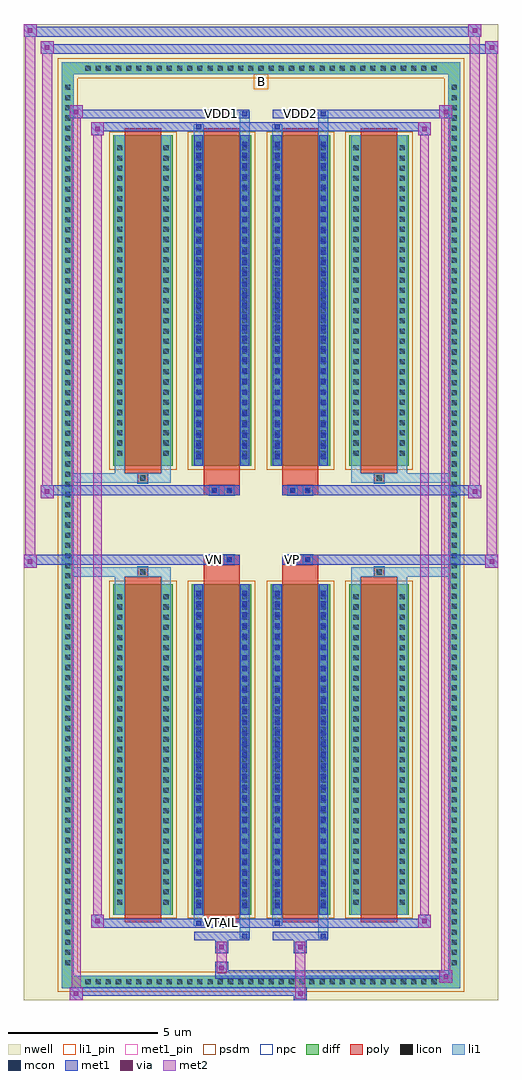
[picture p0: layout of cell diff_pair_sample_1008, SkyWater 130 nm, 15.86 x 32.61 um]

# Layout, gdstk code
import gdstk
lib = gdstk.Library(unit=1e-6, precision=5e-09)
def R(c, l, rs):  # rectangles x0, y0, x1, y1
    for r in rs: c.add(gdstk.rectangle(r[:2], r[2:], *l))
def A(c, l, x, y, w, h, nx, ny, dx, dy):  # array of equal rectangles
    R(c, l, [(x+i*dx, y+j*dy, x+i*dx+w, y+j*dy+h) for i in range(nx) for j in range(ny)])
def P(c, l, *ps):  # polygons
    for p in ps: c.add(gdstk.Polygon(p, *l))
nwell = (64, 20)
diff = (65, 20)
poly = (66, 20)
licon = (66, 44)
li1_pin = (67, 16)
li1 = (67, 20)
mcon = (67, 44)
met1_pin = (68, 16)
met1 = (68, 20)
via = (68, 44)
met2 = (69, 20)
psdm = (94, 20)
npc = (95, 20)

diff_pair_sample_1008 = lib.new_cell('diff_pair_sample_1008')
R(diff_pair_sample_1008, nwell, [(-7.93,-15.87,7.93,16.74), (-5.25,-14.06,-0.01,-0.8), (0.01,-14.06,5.25,-0.8), (-5.25,0.8,-0.01,14.06), (0.01,0.8,5.25,14.06)])
A(diff_pair_sample_1008, diff, -5.985, -15.47, 0.41, 0.41, 35, 2, 0.34, 30.53)
A(diff_pair_sample_1008, diff, -6.66, -14.825, 0.41, 0.41, 1, 87, 0, 0.34)
A(diff_pair_sample_1008, diff, 6.25, -14.825, 0.41, 0.41, 1, 87, 0, 0.34)
A(diff_pair_sample_1008, diff, -4.94, -13.015, 1.99, 11.03, 4, 2, 2.63, 15)
R(diff_pair_sample_1008, diff, [(-5.985,-15.47,5.985,-15.06), (-6.66,-14.825,-6.25,14.825), (6.25,-14.825,6.66,14.825), (-5.985,15.06,5.985,15.47)])
P(diff_pair_sample_1008, diff, [(6.66,15.47),(-6.66,15.47),(-6.66,-15.06),(-6.25,-15.06),(-6.25,15.06),(6.25,15.06),(6.25,-15.06),(-6.25,-15.06),(-6.66,-15.06),(-6.66,-15.47),(6.66,-15.47)])
A(diff_pair_sample_1008, poly, -4.55, -13.265, 1.21, 11.53, 4, 2, 2.63, 15)
R(diff_pair_sample_1008, poly, [(-4.11,-1.735,-3.78,-1.405), (-4.11,-1.735,-3.78,-1.405), (-1.92,-1.735,-0.71,-1.33), (0.71,-1.735,1.92,-1.33), (3.78,-1.735,4.11,-1.405), (3.78,-1.735,4.11,-1.405), (-1.92,-1.33,-0.71,-1), (-1.73,-1.33,-1.4,-1), (-1.23,-1.33,-0.9,-1), (0.71,-1.33,1.92,-1), (0.9,-1.33,1.23,-1), (1.4,-1.33,1.73,-1), (-1.92,1,-0.71,1.33), (-1.73,1,-1.4,1.33), (-1.23,1,-0.9,1.33), (0.71,1,1.92,1.33), (0.9,1,1.23,1.33), (1.4,1,1.73,1.33), (-1.92,1.33,-0.71,1.735), (0.71,1.33,1.92,1.735), (-4.11,1.405,-3.78,1.735), (-4.11,1.405,-3.78,1.735), (3.78,1.405,4.11,1.735), (3.78,1.405,4.11,1.735)])
A(diff_pair_sample_1008, licon, -5.865, -15.35, 0.17, 0.17, 35, 2, 0.34, 30.53)
A(diff_pair_sample_1008, licon, -6.54, -14.705, 0.17, 0.17, 1, 87, 0, 0.34)
A(diff_pair_sample_1008, licon, 6.37, -14.705, 0.17, 0.17, 1, 87, 0, 0.34)
A(diff_pair_sample_1008, licon, -4.8, -12.685, 0.17, 0.17, 1, 31, 0, 0.34)
A(diff_pair_sample_1008, licon, -3.26, -12.685, 0.17, 0.17, 1, 31, 0, 0.34)
A(diff_pair_sample_1008, licon, -2.17, -12.685, 0.17, 0.17, 1, 31, 0, 0.34)
A(diff_pair_sample_1008, licon, -0.63, -12.685, 0.17, 0.17, 1, 31, 0, 0.34)
A(diff_pair_sample_1008, licon, 0.46, -12.685, 0.17, 0.17, 1, 31, 0, 0.34)
A(diff_pair_sample_1008, licon, 2, -12.685, 0.17, 0.17, 1, 31, 0, 0.34)
A(diff_pair_sample_1008, licon, 3.09, -12.685, 0.17, 0.17, 1, 31, 0, 0.34)
A(diff_pair_sample_1008, licon, 4.63, -12.685, 0.17, 0.17, 1, 31, 0, 0.34)
A(diff_pair_sample_1008, licon, -4.8, 2.315, 0.17, 0.17, 1, 31, 0, 0.34)
A(diff_pair_sample_1008, licon, -3.26, 2.315, 0.17, 0.17, 1, 31, 0, 0.34)
A(diff_pair_sample_1008, licon, -2.17, 2.315, 0.17, 0.17, 1, 31, 0, 0.34)
A(diff_pair_sample_1008, licon, -0.63, 2.315, 0.17, 0.17, 1, 31, 0, 0.34)
A(diff_pair_sample_1008, licon, 0.46, 2.315, 0.17, 0.17, 1, 31, 0, 0.34)
A(diff_pair_sample_1008, licon, 2, 2.315, 0.17, 0.17, 1, 31, 0, 0.34)
A(diff_pair_sample_1008, licon, 3.09, 2.315, 0.17, 0.17, 1, 31, 0, 0.34)
A(diff_pair_sample_1008, licon, 4.63, 2.315, 0.17, 0.17, 1, 31, 0, 0.34)
R(diff_pair_sample_1008, licon, [(-4.03,-1.655,-3.86,-1.485), (3.86,-1.655,4.03,-1.485), (-1.65,-1.25,-1.48,-1.08), (-1.15,-1.25,-0.98,-1.08), (0.98,-1.25,1.15,-1.08), (1.48,-1.25,1.65,-1.08), (-1.65,1.08,-1.48,1.25), (-1.15,1.08,-0.98,1.25), (0.98,1.08,1.15,1.25), (1.48,1.08,1.65,1.25), (-4.03,1.485,-3.86,1.655), (3.86,1.485,4.03,1.655)])
R(diff_pair_sample_1008, li1_pin, [(-0.25,14.56,0.25,15.06)])
A(diff_pair_sample_1008, li1, -5.945, -15.43, 0.33, 0.33, 35, 2, 0.34, 30.53)
A(diff_pair_sample_1008, li1, -6.62, -14.785, 0.33, 0.33, 1, 87, 0, 0.34)
A(diff_pair_sample_1008, li1, 6.29, -14.785, 0.33, 0.33, 1, 87, 0, 0.34)
A(diff_pair_sample_1008, li1, -2.17, -12.805, 0.17, 0.17, 1, 30, 0, 0.36)
A(diff_pair_sample_1008, li1, -0.63, -12.805, 0.17, 0.17, 1, 30, 0, 0.36)
A(diff_pair_sample_1008, li1, 0.46, -12.805, 0.17, 0.17, 1, 30, 0, 0.36)
A(diff_pair_sample_1008, li1, 2, -12.805, 0.17, 0.17, 1, 30, 0, 0.36)
A(diff_pair_sample_1008, li1, -4.88, -12.765, 0.33, 0.33, 1, 31, 0, 0.34)
A(diff_pair_sample_1008, li1, -3.34, -12.765, 0.33, 0.33, 1, 31, 0, 0.34)
A(diff_pair_sample_1008, li1, -2.25, -12.765, 0.33, 0.33, 1, 31, 0, 0.34)
A(diff_pair_sample_1008, li1, -0.71, -12.765, 0.33, 0.33, 1, 31, 0, 0.34)
A(diff_pair_sample_1008, li1, 0.38, -12.765, 0.33, 0.33, 1, 31, 0, 0.34)
A(diff_pair_sample_1008, li1, 1.92, -12.765, 0.33, 0.33, 1, 31, 0, 0.34)
A(diff_pair_sample_1008, li1, 3.01, -12.765, 0.33, 0.33, 1, 31, 0, 0.34)
A(diff_pair_sample_1008, li1, 4.55, -12.765, 0.33, 0.33, 1, 31, 0, 0.34)
A(diff_pair_sample_1008, li1, -2.17, 2.195, 0.17, 0.17, 1, 30, 0, 0.36)
A(diff_pair_sample_1008, li1, -0.63, 2.195, 0.17, 0.17, 1, 30, 0, 0.36)
A(diff_pair_sample_1008, li1, 0.46, 2.195, 0.17, 0.17, 1, 30, 0, 0.36)
A(diff_pair_sample_1008, li1, 2, 2.195, 0.17, 0.17, 1, 30, 0, 0.36)
A(diff_pair_sample_1008, li1, -4.88, 2.235, 0.33, 0.33, 1, 31, 0, 0.34)
A(diff_pair_sample_1008, li1, -3.34, 2.235, 0.33, 0.33, 1, 31, 0, 0.34)
A(diff_pair_sample_1008, li1, -2.25, 2.235, 0.33, 0.33, 1, 31, 0, 0.34)
A(diff_pair_sample_1008, li1, -0.71, 2.235, 0.33, 0.33, 1, 31, 0, 0.34)
A(diff_pair_sample_1008, li1, 0.38, 2.235, 0.33, 0.33, 1, 31, 0, 0.34)
A(diff_pair_sample_1008, li1, 1.92, 2.235, 0.33, 0.33, 1, 31, 0, 0.34)
A(diff_pair_sample_1008, li1, 3.01, 2.235, 0.33, 0.33, 1, 31, 0, 0.34)
A(diff_pair_sample_1008, li1, 4.55, 2.235, 0.33, 0.33, 1, 31, 0, 0.34)
R(diff_pair_sample_1008, li1, [(-6.66,-15.47,-6.25,-15.06), (-6.66,-15.47,-6.25,-15.06), (-6.25,-15.47,6.25,-15.06), (6.25,-15.47,6.66,-15.06), (6.25,-15.47,6.66,-15.06), (-6.66,-15.06,-6.25,15.06), (6.25,-15.06,6.66,15.06), (-0.71,-13.82,-0.38,-13.015), (-0.63,-13.82,-0.46,-13.65), (1.92,-13.82,2.25,-13.015), (2,-13.82,2.17,-13.65), (-2.25,-13.39,-1.92,-13.015), (-2.17,-13.39,-2,-13.22), (0.38,-13.39,0.71,-13.015), (0.46,-13.39,0.63,-13.22), (-4.88,-13.015,-4.55,-1.985), (-3.34,-13.015,-3.01,-1.985), (-2.25,-13.015,-1.92,-1.985), (-0.71,-13.015,-0.38,-1.985), (0.38,-13.015,0.71,-1.985), (1.92,-13.015,2.25,-1.985), (3.01,-13.015,3.34,-1.985), (4.55,-13.015,4.88,-1.985), (-2.17,-12.805,-2,-2.195), (-0.63,-12.805,-0.46,-2.195), (0.46,-12.805,0.63,-2.195), (2,-12.805,2.17,-2.195), (-4.88,-1.985,-4.55,-1.405), (-3.34,-1.985,-3.01,-1.405), (3.01,-1.985,3.34,-1.405), (4.55,-1.985,4.88,-1.405), (-6.66,-1.735,-4.11,-1.405), (-4.88,-1.735,-4.11,-1.405), (-4.11,-1.735,-3.78,-1.405), (-3.78,-1.735,-3.01,-1.405), (3.01,-1.735,3.78,-1.405), (3.78,-1.735,4.11,-1.405), (3.78,-1.735,6.66,-1.405), (4.11,-1.735,4.88,-1.405), (-1.73,-1.33,-1.4,-1), (-1.23,-1.33,-0.9,-1), (0.9,-1.33,1.23,-1), (1.4,-1.33,1.73,-1), (-1.73,1,-1.4,1.33), (-1.23,1,-0.9,1.33), (0.9,1,1.23,1.33), (1.4,1,1.73,1.33), (-6.66,1.405,-4.11,1.735), (-4.88,1.405,-4.11,1.735), (-4.88,1.405,-4.55,1.985), (-4.11,1.405,-3.78,1.735), (-3.78,1.405,-3.01,1.735), (-3.34,1.405,-3.01,1.985), (3.01,1.405,3.78,1.735), (3.01,1.405,3.34,1.985), (3.78,1.405,4.11,1.735), (3.78,1.405,6.66,1.735), (4.11,1.405,4.88,1.735), (4.55,1.405,4.88,1.985), (-4.88,1.985,-4.55,13.015), (-3.34,1.985,-3.01,13.015), (-2.25,1.985,-1.92,13.015), (-0.71,1.985,-0.38,13.015), (0.38,1.985,0.71,13.015), (1.92,1.985,2.25,13.015), (3.01,1.985,3.34,13.015), (4.55,1.985,4.88,13.015), (-2.17,2.195,-2,12.805), (-0.63,2.195,-0.46,12.805), (0.46,2.195,0.63,12.805), (2,2.195,2.17,12.805), (-2.25,13.015,-1.92,13.39), (-0.71,13.015,-0.38,13.82), (0.38,13.015,0.71,13.39), (1.92,13.015,2.25,13.82), (-2.17,13.22,-2,13.39), (0.46,13.22,0.63,13.39), (-0.63,13.65,-0.46,13.82), (2,13.65,2.17,13.82), (-6.66,15.06,-6.25,15.47), (-6.66,15.06,-6.25,15.47), (-6.25,15.06,6.25,15.47), (6.25,15.06,6.66,15.47), (6.25,15.06,6.66,15.47)])
A(diff_pair_sample_1008, mcon, -2.17, -12.805, 0.17, 0.17, 1, 30, 0, 0.36)
A(diff_pair_sample_1008, mcon, -0.63, -12.805, 0.17, 0.17, 1, 30, 0, 0.36)
A(diff_pair_sample_1008, mcon, 0.46, -12.805, 0.17, 0.17, 1, 30, 0, 0.36)
A(diff_pair_sample_1008, mcon, 2, -12.805, 0.17, 0.17, 1, 30, 0, 0.36)
A(diff_pair_sample_1008, mcon, -2.17, 2.195, 0.17, 0.17, 1, 30, 0, 0.36)
A(diff_pair_sample_1008, mcon, -0.63, 2.195, 0.17, 0.17, 1, 30, 0, 0.36)
A(diff_pair_sample_1008, mcon, 0.46, 2.195, 0.17, 0.17, 1, 30, 0, 0.36)
A(diff_pair_sample_1008, mcon, 2, 2.195, 0.17, 0.17, 1, 30, 0, 0.36)
R(diff_pair_sample_1008, mcon, [(-0.63,-13.82,-0.46,-13.65), (2,-13.82,2.17,-13.65), (-2.17,-13.39,-2,-13.22), (0.46,-13.39,0.63,-13.22), (-1.65,-1.25,-1.48,-1.08), (-1.15,-1.25,-0.98,-1.08), (0.98,-1.25,1.15,-1.08), (1.48,-1.25,1.65,-1.08), (-1.65,1.08,-1.48,1.25), (-1.15,1.08,-0.98,1.25), (0.98,1.08,1.15,1.25), (1.48,1.08,1.65,1.25), (-2.17,13.22,-2,13.39), (0.46,13.22,0.63,13.39), (-0.63,13.65,-0.46,13.82), (2,13.65,2.17,13.82)])
R(diff_pair_sample_1008, met1_pin, [(-1.45,-13.43,-1.18,-13.16), (-1.7,-1.29,-1.43,-1.02), (0.93,-1.29,1.2,-1.02), (-1.45,13.61,-1.18,13.88), (1.18,13.61,1.45,13.88)])
A(diff_pair_sample_1008, met1, -2.23, -12.865, 0.29, 0.29, 1, 30, 0, 0.36)
A(diff_pair_sample_1008, met1, -0.69, -12.865, 0.29, 0.29, 1, 30, 0, 0.36)
A(diff_pair_sample_1008, met1, 0.4, -12.865, 0.29, 0.29, 1, 30, 0, 0.36)
A(diff_pair_sample_1008, met1, 1.94, -12.865, 0.29, 0.29, 1, 30, 0, 0.36)
A(diff_pair_sample_1008, met1, -2.23, 2.135, 0.29, 0.29, 1, 30, 0, 0.36)
A(diff_pair_sample_1008, met1, -0.69, 2.135, 0.29, 0.29, 1, 30, 0, 0.36)
A(diff_pair_sample_1008, met1, 0.4, 2.135, 0.29, 0.29, 1, 30, 0, 0.36)
A(diff_pair_sample_1008, met1, 1.94, 2.135, 0.29, 0.29, 1, 30, 0, 0.36)
R(diff_pair_sample_1008, met1, [(-6.39,-15.87,-5.96,-15.44), (1.1,-15.87,1.53,-15.44), (-6.39,-15.73,1.53,-15.44), (5.96,-15.3,6.39,-14.87), (-1.53,-15.16,6.39,-14.87), (-1.53,-15.02,-1.1,-14.59), (-1.53,-14.31,-1.1,-13.88), (1.1,-14.31,1.53,-13.88), (-2.23,-13.88,-0.4,-13.59), (-0.69,-13.88,-0.4,-13.59), (0.4,-13.88,2.23,-13.59), (1.94,-13.88,2.23,-13.59), (-5.68,-13.45,-5.25,-13.02), (-5.68,-13.45,-2.23,-13.16), (-2.23,-13.45,-1.94,-13.16), (-2.23,-13.45,-0.4,-13.16), (-0.4,-13.45,0.4,-13.16), (0.4,-13.45,0.69,-13.16), (0.4,-13.45,2.23,-13.16), (2.23,-13.45,5.68,-13.16), (5.25,-13.45,5.68,-13.02), (-2.23,-13.015,-1.94,-1.985), (-0.69,-13.015,-0.4,-1.985), (0.4,-13.015,0.69,-1.985), (1.94,-13.015,2.23,-1.985), (-7.93,-1.43,-7.5,-1), (7.5,-1.43,7.93,-1), (-7.93,-1.33,-0.71,-1), (-1.92,-1.33,-0.71,-1), (0.71,-1.33,1.92,-1), (0.71,-1.33,7.93,-1), (-1.71,-1.31,-1.42,-1.02), (-1.21,-1.31,-0.92,-1.02), (0.92,-1.31,1.21,-1.02), (1.42,-1.31,1.71,-1.02), (-7.36,0.9,-6.93,1.33), (6.93,0.9,7.36,1.33), (-7.36,1,-1.92,1.33), (-1.92,1,-0.71,1.33), (0.71,1,1.92,1.33), (1.92,1,7.36,1.33), (-1.71,1.02,-1.42,1.31), (-1.21,1.02,-0.92,1.31), (0.92,1.02,1.21,1.31), (1.42,1.02,1.71,1.31), (-2.23,1.985,-1.94,13.015), (-0.69,1.985,-0.4,13.015), (0.4,1.985,0.69,13.015), (1.94,1.985,2.23,13.015), (-5.68,13.02,-5.25,13.45), (5.25,13.02,5.68,13.45), (-5.68,13.16,-2.23,13.45), (-2.23,13.16,-1.94,13.45), (-2.23,13.16,-0.4,13.45), (-0.4,13.16,0.4,13.45), (0.4,13.16,0.69,13.45), (0.4,13.16,2.23,13.45), (2.23,13.16,5.68,13.45), (-6.39,13.59,-5.96,14.02), (-6.39,13.59,-2.23,13.88), (-2.23,13.59,-0.4,13.88), (-0.69,13.59,-0.4,13.88), (0.4,13.59,2.23,13.88), (1.94,13.59,2.23,13.88), (2.23,13.59,6.39,13.88), (5.96,13.59,6.39,14.02), (-7.36,15.74,-6.93,16.17), (-7.36,15.74,-5.25,16.07), (-5.25,15.74,5.25,16.07), (5.25,15.74,7.93,16.07), (7.5,15.74,7.93,16.17), (-7.93,16.31,-7.5,16.74), (-7.93,16.31,-5.25,16.64), (-5.25,16.31,5.25,16.64), (5.25,16.31,7.36,16.64), (6.93,16.31,7.36,16.74)])
R(diff_pair_sample_1008, via, [(-6.25,-15.73,-6.1,-15.58), (1.24,-15.73,1.39,-15.58), (6.1,-15.16,6.25,-15.01), (-1.39,-14.88,-1.24,-14.73), (-1.39,-14.17,-1.24,-14.02), (1.24,-14.17,1.39,-14.02), (-5.54,-13.31,-5.39,-13.16), (5.39,-13.31,5.54,-13.16), (-7.79,-1.29,-7.64,-1.14), (7.64,-1.29,7.79,-1.14), (-7.22,1.04,-7.07,1.19), (7.07,1.04,7.22,1.19), (-5.54,13.16,-5.39,13.31), (5.39,13.16,5.54,13.31), (-6.25,13.73,-6.1,13.88), (6.1,13.73,6.25,13.88), (-7.22,15.88,-7.07,16.03), (7.64,15.88,7.79,16.03), (-7.79,16.45,-7.64,16.6), (7.07,16.45,7.22,16.6)])
R(diff_pair_sample_1008, met2, [(-6.39,-15.87,-5.96,-15.44), (-6.32,-15.87,-6.03,14.02), (-6.03,-15.87,-5.96,-15.44), (-6.34,-15.82,-6.01,-15.49), (1.15,-15.82,1.48,-15.49), (1.15,-15.49,1.48,-14.26), (5.96,-15.3,6.39,-14.87), (6.03,-15.3,6.32,14.02), (6.32,-15.3,6.39,-14.87), (6.01,-15.25,6.34,-14.92), (-1.48,-14.97,-1.15,-14.64), (-1.48,-14.64,-1.15,-14.26), (-1.48,-14.26,-1.15,-13.93), (1.15,-14.26,1.48,-13.93), (-5.68,-13.45,-5.25,-13.02), (-5.61,-13.45,-5.32,13.45), (-5.32,-13.45,-5.25,-13.02), (5.25,-13.45,5.68,-13.02), (5.32,-13.45,5.61,13.45), (5.61,-13.45,5.68,-13.02), (-5.63,-13.4,-5.3,-13.07), (5.3,-13.4,5.63,-13.07), (-7.93,-1.43,-7.5,-1), (-7.88,-1.43,-7.55,16.74), (-7.55,-1.43,-7.5,-1), (7.5,-1.43,7.93,-1), (7.55,-1.43,7.88,16.17), (7.88,-1.43,7.93,-1), (-7.88,-1.38,-7.55,-1.05), (7.55,-1.38,7.88,-1.05), (-7.36,0.9,-6.93,1.33), (-7.31,0.9,-6.98,16.17), (-6.98,0.9,-6.93,1.33), (6.93,0.9,7.36,1.33), (6.98,0.9,7.31,16.74), (7.31,0.9,7.36,1.33), (-7.31,0.95,-6.98,1.28), (6.98,0.95,7.31,1.28), (-5.68,13.02,-5.25,13.45), (-5.32,13.02,-5.25,13.45), (5.25,13.02,5.68,13.45), (5.61,13.02,5.68,13.45), (-5.63,13.07,-5.3,13.4), (5.3,13.07,5.63,13.4), (-6.39,13.59,-5.96,14.02), (-6.03,13.59,-5.96,14.02), (5.96,13.59,6.39,14.02), (6.32,13.59,6.39,14.02), (-6.34,13.64,-6.01,13.97), (6.01,13.64,6.34,13.97), (-7.36,15.74,-6.93,16.17), (-6.98,15.74,-6.93,16.17), (7.5,15.74,7.93,16.17), (7.88,15.74,7.93,16.17), (-7.31,15.79,-6.98,16.12), (7.55,15.79,7.88,16.12), (-7.93,16.31,-7.5,16.74), (-7.55,16.31,-7.5,16.74), (6.93,16.31,7.36,16.74), (7.31,16.31,7.36,16.74), (-7.88,16.36,-7.55,16.69), (6.98,16.36,7.31,16.69)])
A(diff_pair_sample_1008, psdm, -5.07, -13.145, 2.25, 11.29, 4, 2, 2.63, 15)
P(diff_pair_sample_1008, psdm, [(6.79,15.6),(-6.79,15.6),(-6.79,-14.93),(-6.12,-14.93),(-6.12,14.93),(6.12,14.93),(6.12,-14.93),(-6.12,-14.93),(-6.79,-14.93),(-6.79,-15.6),(6.79,-15.6)])
R(diff_pair_sample_1008, npc, [(-4.13,-1.755,-3.76,-1.385), (3.76,-1.755,4.13,-1.385), (-1.75,-1.35,-1.38,-0.98), (-1.75,-1.35,-0.88,-0.98), (-1.75,-1.35,-0.88,-0.98), (-1.25,-1.35,-0.88,-0.98), (0.88,-1.35,1.25,-0.98), (0.88,-1.35,1.75,-0.98), (0.88,-1.35,1.75,-0.98), (1.38,-1.35,1.75,-0.98), (-1.75,0.98,-1.38,1.35), (-1.75,0.98,-0.88,1.35), (-1.75,0.98,-0.88,1.35), (-1.25,0.98,-0.88,1.35), (0.88,0.98,1.25,1.35), (0.88,0.98,1.75,1.35), (0.88,0.98,1.75,1.35), (1.38,0.98,1.75,1.35), (-4.13,1.385,-3.76,1.755), (3.76,1.385,4.13,1.755)])
diff_pair_sample_1008.add(gdstk.Label('VTAIL', (-1.315,-13.295), layer=68, texttype=5))
diff_pair_sample_1008.add(gdstk.Label('VN', (-1.565,-1.155), layer=68, texttype=5))
diff_pair_sample_1008.add(gdstk.Label('VP', (1.065,-1.155), layer=68, texttype=5))
diff_pair_sample_1008.add(gdstk.Label('B', (0,14.81), layer=67, texttype=5))
diff_pair_sample_1008.add(gdstk.Label('VDD2', (1.315,13.745), layer=68, texttype=5))
diff_pair_sample_1008.add(gdstk.Label('VDD1', (-1.315,13.745), layer=68, texttype=5))

lib.write_gds('diff_pair_sample_1008.gds')
